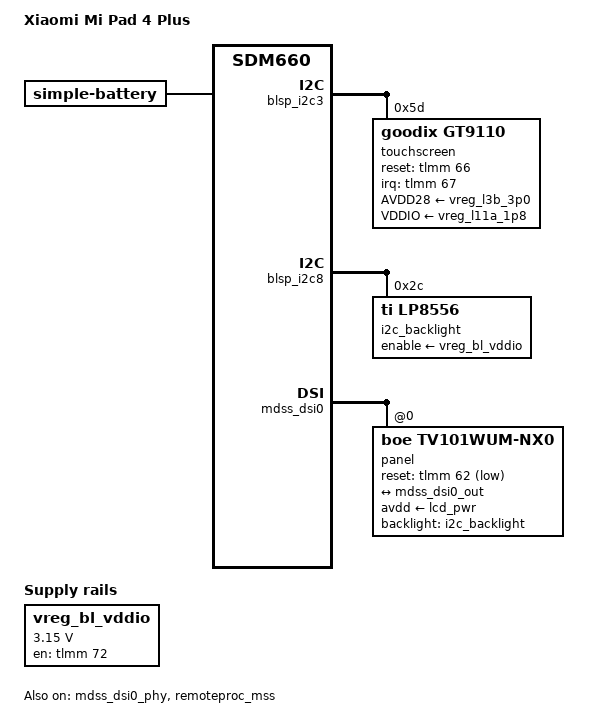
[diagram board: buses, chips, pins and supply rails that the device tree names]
// SPDX-License-Identifier: GPL-2.0-only
/*
 * Copyright (c) 2023, Nickolay Goppen <killubuntoid@yandex.ru>
 */

/dts-v1/;
#include "sdm660-xiaomi-clover-common.dtsi"

/ {
	model = "Xiaomi Mi Pad 4 Plus";
	compatible = "xiaomi,clover-plus", "qcom,sdm660";

	battery: battery {
		compatible = "simple-battery";

		device-chemistry = "lithium-ion";

		charge-full-design-microamp-hours = <8620000>;
		voltage-min-design-microvolt = <3400000>;
		voltage-max-design-microvolt = <4400000>;
	};

	vreg_bl_vddio: lcd-backlight-regulator {
		compatible = "regulator-fixed";

		regulator-name = "vreg_bl_vddio";
		regulator-min-microvolt = <3150000>;
		regulator-max-microvolt = <3150000>;

		gpio = <&tlmm 72 GPIO_ACTIVE_HIGH>;
		enable-active-high;

		startup-delay-us = <70000>;

		pinctrl-names = "default";
		pinctrl-0 = <&lcd_bl_en_default>;
	};
};

&blsp_i2c3 {
	status = "okay";

	touchscreen@5d {
		compatible = "goodix,gt9110";
		reg = <0x5d>;

		AVDD28-supply = <&vreg_l3b_3p0>;
		VDDIO-supply = <&vreg_l11a_1p8>;

		interrupts-extended = <&tlmm 67 IRQ_TYPE_LEVEL_LOW>;

		pinctrl-names = "default", "int-output-low", "int-output-high", "int-input";
		pinctrl-0 = <&ts_int_default>;
		pinctrl-1 = <&ts_int_output_low>;
		pinctrl-2 = <&ts_int_output_high>;
		pinctrl-3 = <&ts_int_input>;

		reset-gpios = <&tlmm 66 GPIO_ACTIVE_HIGH>;
		irq-gpios = <&tlmm 67 IRQ_TYPE_LEVEL_LOW>;

		touchscreen-size-x = <1200>;
		touchscreen-size-y = <1920>;
	};
};

&blsp_i2c8 {
	status = "okay";

	i2c_backlight: backlight@2c {
		compatible = "ti,lp8556";
		reg = <0x2c>;
		enable-supply = <&vreg_bl_vddio>;

		bl-name = "lcd-backlight";
		dev-ctrl = /bits/ 8 <0x87>; /* pwm + i2c combined mode after shaper block, 12-bit */
		init-brt = /bits/ 8 <0x7f>; /* 50% brightness */

		rom-9eh {
			rom-addr = /bits/ 8 <0x9e>;
			rom-val = /bits/ 8 <0x20>;
		};
		rom-a0h {
			rom-addr = /bits/ 8 <0xa0>;
			rom-val = /bits/ 8 <0x09>; /* max current 23.5mA */
		};
		rom-a1h {
			rom-addr = /bits/ 8 <0xa1>;
			rom-val = /bits/ 8 <0x5f>; /* max current 23.5mA */
		};
		rom-a3h {
			rom-addr = /bits/ 8 <0xa3>;
			rom-val = /bits/ 8 <0x0e>; /* Select brightness change transition duration 000 = 0 ms (immediate change)*/
		};
		rom-a5h {
			rom-addr = /bits/ 8 <0xa5>;
			rom-val = /bits/ 8 <0x24>;
		};
		rom-a9h {
			rom-addr = /bits/ 8 <0xa9>;
			rom-val = /bits/ 8 <0xa0>;
		};
		rom-aeh {
			rom-addr = /bits/ 8 <0xae>;
			rom-val = /bits/ 8 <0x0e>;
		};
	};
};

&mdss_dsi0 {
	status = "okay";

	#address-cells = <1>;
	#size-cells = <0>;
	vdd-supply = <&vreg_l1b_0p925>;
	vdda-supply = <&vreg_l1a_1p225>;

	panel: panel@0 {
		compatible = "boe,tv101wum-nx0", "novatek,nt51021";
		reg = <0>;

		backlight = <&i2c_backlight>;
		avdd-supply = <&lcd_pwr>;
		reset-gpios = <&tlmm 62 GPIO_ACTIVE_LOW>;

		pinctrl-names = "default";
		pinctrl-0 = <&mdss_dsi_reset &mdss_vsync_active>;

		port {
			panel_in: endpoint {
				remote-endpoint = <&mdss_dsi0_out>;
			};
		};
	};
};

&mdss_dsi0_out {
	data-lanes = <0 1 2 3>;
	remote-endpoint = <&panel_in>;
};

&mdss_dsi0_phy {
	vcca-supply = <&vreg_l1b_0p925>;

	status = "okay";
};

&remoteproc_mss {
	firmware-name = "mba.mbn", "modem.mdt";

	status = "okay";
};

&tlmm {
	lcd_bl_en_default: lcd-bl-en-default-state {
		pins = "gpio72";
		function = "gpio";
		drive-strength = <10>;
		output-low;
		bias-disable;
	};

	ts_int_default: ts-int-default-state {
		pins = "gpio67";
		function = "gpio";
		drive-strength = <16>;
		output-disable;
		bias-disable;
	};

	ts_int_output_high: ts-int-output-high-state {
		pins = "gpio67";
		function = "gpio";
		output-high;
	};

	ts_int_output_low: ts-int-output-low-state {
		pins = "gpio67";
		function = "gpio";
		output-low;
	};

	ts_int_input: ts-int-input-state {
		pins = "gpio67";
		function = "gpio";
		output-disable;
		bias-disable;
	};
};
